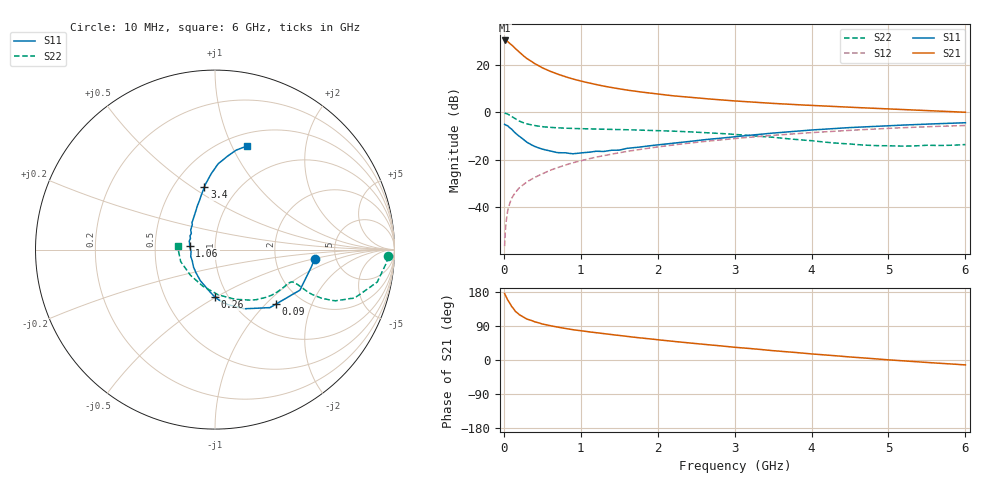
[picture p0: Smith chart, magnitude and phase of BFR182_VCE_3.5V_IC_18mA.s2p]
! Infineon Technologies  Discrete & RF Semiconductors
! BFR182
! VCE =  3.5 V,  IC =  18 mA
! Common Emitter S-Parameters:  Nov 2015
# GHz  S  MA  R  50
!  f  S11  S21  S12  S22
! GHz  MAG  ANG  MAG  ANG  MAG  ANG  MAG  ANG
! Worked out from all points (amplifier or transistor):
!   210 points, 10 MHz to 6 GHz, reference 50 ohm
!   highest |S21| = 30.4 dB at 10 MHz (marker M1)
!   |S21| within 3 dB of that: start of sweep to 136.4 MHz
!   unconditionally stable (mu >= 1): 588.4 MHz to 2.53 GHz
!   at 185 MHz: K = 0.67, MSG = 29.2 dB, |S12| = -32.4 dB
!   at 1.52 GHz: K = 1.05, MAG = 12.1 dB, |S12| = -16.9 dB
!   at 6 GHz: K = 0.89, MSG = 2.8 dB, |S12| = -5.5 dB
!   S11 on the Smith chart (normalised r, x): 10 MHz: 3.45, -0.51; 90 MHz: 1.50, -1.15; 260 MHz: 0.87, -0.49; 1.06 GHz: 0.75, +0.03; 3.4 GHz: 0.70, +0.56; 6 GHz: 0.63, +1.15
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0.01  0.5582 -5.2  33.01 175.2  0.0015 91.2  0.9673 -2.2
0.02  0.5453 -10.2  32.61 170.8  0.0032 84.4  0.9567 -4.6
0.05  0.5244 -25.5  31.26 158.5  0.0083 78.0  0.922 -11.3
0.09  0.4555 -41.8  27.46 145.5  0.0138 74.7  0.8418 -17.4
0.1  0.4451 -46.6  26.77 141.7  0.0152 74.2  0.8234 -19.1
0.15  0.3668 -64.0  22.29 128.3  0.0203 70.7  0.7276 -23.1
0.2  0.3144 -77.0  18.71 119.7  0.0255 70.7  0.657 -24.5
0.26  0.2648 -90.1  15.42 112.2  0.0304 70.8  0.6001 -24.8
0.3  0.2345 -97.5  13.71 108.0  0.0341 71.3  0.5718 -24.6
0.4  0.1918 -115.1  10.75 100.9  0.0421 72.0  0.5269 -23.6
0.5  0.168 -128.5  8.738 95.0  0.0506 72.4  0.4991 -22.9
0.7  0.1415 -153.5  6.423 86.6  0.0683 73.1  0.4721 -22.6
0.8  0.1405 -164.0  5.646 83.1  0.0776 72.6  0.4644 -22.8
1.02  0.1404 174.3  4.508 76.7  0.097 72.1  0.4525 -24.2
1.06  0.142 171.6  4.355 75.6  0.1007 71.8  0.4504 -24.5
1.4  0.1589 151.0  3.341 67.0  0.1313 69.8  0.4388 -28.1
2.02  0.2075 126.0  2.415 53.1  0.1884 64.6  0.4125 -36.6
3.1  0.3177 103.5  1.704 32.0  0.2898 53.9  0.3337 -57.2
3.4  0.3538 99.6  1.585 26.6  0.3183 50.6  0.3062 -65.1
4.1  0.4354 91.6  1.378 14.6  0.3829 42.3  0.2427 -89.6
5.1  0.5323 81.5  1.168 -0.9  0.4687 30.0  0.1953 -138.9
6  0.6051 72.7  1.007 -13.0  0.5289 17.6  0.2096 174.8
